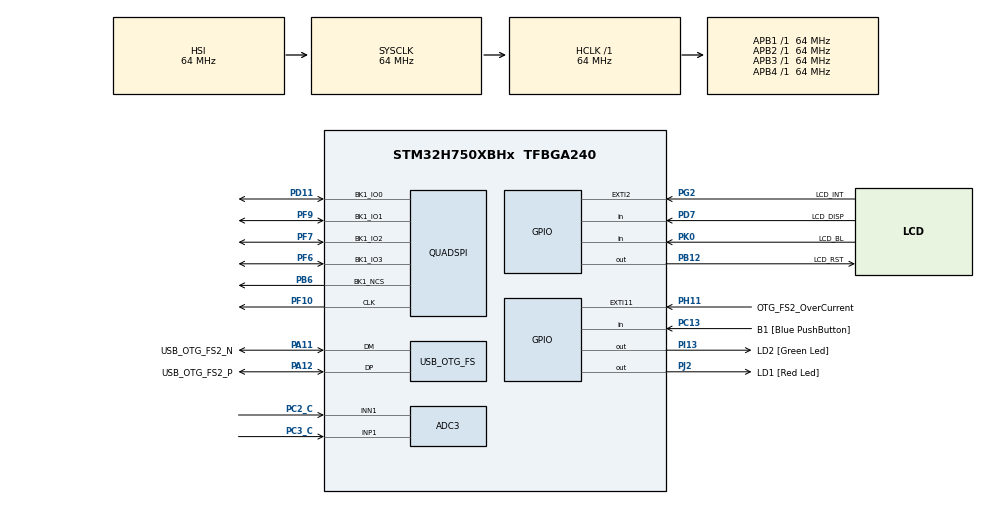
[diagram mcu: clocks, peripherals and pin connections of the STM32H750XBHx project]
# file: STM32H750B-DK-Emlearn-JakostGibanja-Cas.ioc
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ADC3.Channel-0\#ChannelRegularConversion=ADC_CHANNEL_1
ADC3.NbrOfConversionFlag=1
ADC3.OffsetNumber-0\#ChannelRegularConversion=ADC_OFFSET_NONE
ADC3.Rank-0\#ChannelRegularConversion=1
ADC3.SamplingTime-0\#ChannelRegularConversion=ADC_SAMPLETIME_1CYCLE_5
ADC3.SingleDiff-0\#ChannelRegularConversion=ADC_DIFFERENTIAL_ENDED
Mcu.Family=STM32H7
Mcu.Name=STM32H750XBHx
Mcu.Package=TFBGA240
NVIC.OTG_FS_IRQn=true\:0\:0\:false\:false\:true\:false\:true\:true
NVIC.PriorityGroup=NVIC_PRIORITYGROUP_4
PA0_C.Signal=ADCx_INP0
PA1.GPIO_Label=MII_RX_CLK
PA1.Signal=ETH_RX_CLK
PA10.Signal=USB_OTG_FS_ID
PA11.GPIO_Label=USB_OTG_FS2_N
PA11.Mode=Device_Only
PA11.Signal=USB_OTG_FS_DM
PA12.GPIO_Label=USB_OTG_FS2_P
PA12.Mode=Device_Only
PA12.Signal=USB_OTG_FS_DP
PA1_C.Signal=ADCx_INP1
PA2.GPIO_Label=MII_MDIO
PA2.Signal=ETH_MDIO
PA6.Signal=S_TIM13_CH1
PA7.GPIO_Label=MII_RX_DV
PA7.Signal=ETH_RX_DV
PA8.Signal=USB_OTG_FS_SOF
PA9.GPIO_Label=VBUS_FS2
PA9.Signal=USB_OTG_FS_VBUS
PB0.GPIO_Label=MII_RX_D2
PB0.Signal=ETH_RXD2
PB1.GPIO_Label=MII_RX_D3
PB1.Signal=ETH_RXD3
PB10.GPIO_Label=VCP_TX
PB10.Signal=USART3_TX
PB11.GPIO_Label=VCP_RX
PB11.Signal=USART3_RX
PB12.GPIO_Label=LCD_RST
PB12.Signal=GPIO_Output
PB13.GPIO_Label=FDCAN2_TX
PB13.Signal=FDCAN2_TX
PB15.Signal=SPI2_MOSI
PB4\ (NJTRST).Signal=SPI2_NSS
PB5.GPIO_Label=FDCAN2_RX
PB5.Signal=FDCAN2_RX
PB6.Mode=Single Bank 1
PB6.Signal=QUADSPI_BK1_NCS
PB8.Signal=S_TIM16_CH1
PB9.GPIO_Label=SDIO1_D5
PB9.Signal=SDMMC1_D5
PC0.Signal=ADCx_INP10
PC1.GPIO_Label=MII_MDC
PC1.Signal=ETH_MDC
PC10.GPIO_Label=SDIO1_D2
PC10.Signal=SDMMC1_D2
PC11.GPIO_Label=SDIO1_D3
PC11.Signal=SDMMC1_D3
PC12.GPIO_Label=SDIO1_CK
PC12.Signal=SDMMC1_CK
PC13.GPIO_Label=B1 [Blue PushButton]
PC13.Signal=GPIO_Input
PC14-OSC32_IN\ (OSC32_IN).GPIO_Label=OSC32_IN
PC14-OSC32_IN\ (OSC32_IN).Mode=LSE-External-Clock-Source
PC14-OSC32_IN\ (OSC32_IN).Signal=RCC_OSC32_IN
PC15-OSC32_OUT\ (OSC32_OUT).GPIO_Label=OSC32_OUT
PC15-OSC32_OUT\ (OSC32_OUT).Signal=RCC_OSC32_OUT
PC2.GPIO_Label=MII_TXD2
PC2.Signal=ETH_TXD2
PC2_C.Signal=SharedAnalog_PC2
PC3.GPIO_Label=MII_TX_CLK
PC3.Signal=ETH_TX_CLK
PC3_C.Mode=IN1-Differential
PC3_C.Signal=ADC3_INP1
PC4.GPIO_Label=MII_RXD0
PC4.Signal=ETH_RXD0
PC5.GPIO_Label=MII_RXD1
PC5.Signal=ETH_RXD1
PC6.GPIO_Label=SDIO1_D6
PC6.Signal=SDMMC1_D6
PC7.GPIO_Label=SDIO1_D7
PC7.Signal=SDMMC1_D7
PC8.GPIO_Label=SDIO1_D0
PC8.Signal=SDMMC1_D0
PC9.GPIO_Label=SDIO1_D1
PC9.Signal=SDMMC1_D1
PD0.Signal=FMC_D2_DA2
PD1.Signal=FMC_D3_DA3
PD10.Signal=FMC_D15_DA15
PD11.Mode=Single Bank 1
PD11.Signal=QUADSPI_BK1_IO0
PD14.Signal=FMC_D0_DA0
PD15.Signal=FMC_D1_DA1
PD2.GPIO_Label=SDIO1_CMD
PD2.Signal=SDMMC1_CMD
PD3.Signal=SPI2_SCK
PD7.GPIO_Label=LCD_DISP
PD7.Signal=GPIO_Input
PD8.Signal=FMC_D13_DA13
PD9.Signal=FMC_D14_DA14
PE0.Signal=FMC_NBL0
PE1.Signal=FMC_NBL1
PE10.Signal=FMC_D7_DA7
PE11.Signal=FMC_D8_DA8
PE12.Signal=FMC_D9_DA9
PE13.Signal=FMC_D10_DA10
PE14.Signal=FMC_D11_DA11
PE15.Signal=FMC_D12_DA12
PE2.GPIO_Label=MII_TXD3
PE2.Signal=ETH_TXD3
PE4.Signal=SAI4_D2
PE5.Signal=SAI4_CK2
PE7.Signal=FMC_D4_DA4
PE8.Signal=FMC_D5_DA5
PE9.Signal=FMC_D6_DA6
PF0.Signal=FMC_A0
PF1.Signal=FMC_A1
PF10.Mode=Single Bank 1
PF10.Signal=QUADSPI_CLK
PF11.Signal=FMC_SDNRAS
PF12.Signal=FMC_A6
PF13.Signal=FMC_A7
PF14.Signal=FMC_A8
PF15.Signal=FMC_A9
PF2.Signal=FMC_A2
PF3.Signal=FMC_A3
PF4.Signal=FMC_A4
PF5.Signal=FMC_A5
PF6.Mode=Single Bank 1
PF6.Signal=QUADSPI_BK1_IO3
PF7.Mode=Single Bank 1
PF7.Signal=QUADSPI_BK1_IO2
PF8.Signal=TIM16_CH1N
PF9.Mode=Single Bank 1
PF9.Signal=QUADSPI_BK1_IO1
PG0.Signal=FMC_A10
PG1.Signal=FMC_A11
PG10.Signal=SAI2_SD_B
PG11.GPIO_Label=MII_TX_EN
PG11.Signal=ETH_TX_EN
PG12.GPIO_Label=MII_TXD1
PG12.Signal=ETH_TXD1
PG13.GPIO_Label=MII_TXD0
PG13.Signal=ETH_TXD0
PG15.Signal=FMC_SDNCAS
PG2.GPIO_Label=LCD_INT
PG2.Signal=GPXTI2
PG4.Signal=FMC_A14_BA0
PG5.Signal=FMC_A15_BA1
PG8.Signal=FMC_SDCLK
PH0-OSC_IN\ (PH0).GPIO_Label=OSC_IN
PH0-OSC_IN\ (PH0).Mode=HSE-External-Clock-Source
PH0-OSC_IN\ (PH0).Signal=RCC_OSC_IN
PH1-OSC_OUT\ (PH1).GPIO_Label=OSC_OUT
PH1-OSC_OUT\ (PH1).Signal=RCC_OSC_OUT
PH11.GPIO_Label=OTG_FS2_OverCurrent
PH11.Signal=GPXTI11
PH13.GPIO_Label=FDCAN1_TX
PH13.Signal=FDCAN1_TX
PH14.GPIO_Label=FDCAN1_RX
PH14.Signal=FDCAN1_RX
PH15.Signal=TIM8_CH3N
PH2.GPIO_Label=MII_CRS
PH2.Signal=ETH_CRS
PH3.GPIO_Label=MII_COL
PH3.Signal=ETH_COL
PH5.Signal=FMC_SDNWE
PH6.Signal=FMC_SDNE1
PH7.Signal=FMC_SDCKE1
PH9.Signal=LTDC_R3
PI0.Signal=LTDC_G5
PI1.Signal=LTDC_G6
PI10.GPIO_Label=MII_RX_ER
PI10.Signal=ETH_RX_ER
PI12.Signal=LTDC_HSYNC
PI13.GPIO_Label=LD2 [Green Led]
PI13.Signal=GPIO_Output
PI14.Signal=LTDC_CLK
PI15.Signal=LTDC_R0
PI2.Signal=SPI2_MISO
PI4.Signal=SAI2_MCLK_A
PI5.Signal=SAI2_SCK_A
PI6.Signal=SAI2_SD_A
PI7.Signal=SAI2_FS_A
PI9.Signal=LTDC_VSYNC
PJ0.Signal=LTDC_R1
PJ1.Signal=LTDC_R2
PJ10.Signal=LTDC_G3
PJ11.Signal=LTDC_G4
PJ12.Signal=LTDC_B0
PJ13.Signal=LTDC_B1
PJ14.Signal=LTDC_B2
PJ15.GPIO_Label=LCD_DISP
PJ15.Signal=LTDC_B3
PJ2.GPIO_Label=LD1 [Red Led]
PJ2.Signal=GPIO_Output
PJ3.Signal=LTDC_R4
PJ4.Signal=LTDC_R5
PJ5.Signal=LTDC_R6
PJ6.Signal=LTDC_R7
PJ7.Signal=LTDC_G0
PJ8.Signal=LTDC_G1
PJ9.Signal=LTDC_G2
PK0.GPIO_Label=LCD_BL
PK0.Signal=GPIO_Input
PK2.Signal=LTDC_G7
PK3.Signal=LTDC_B4
PK4.Signal=LTDC_B5
PK5.Signal=LTDC_B6
PK6.Signal=LTDC_B7
PK7.Signal=LTDC_DE
ProjectManager.HeapSize=0x200
ProjectManager.StackSize=0x400
ProjectManager.TargetToolchain=STM32CubeIDE
RCC.ADCFreq_Value=37500000
RCC.APB1Freq_Value=64000000
RCC.APB2Freq_Value=64000000
RCC.APB3Freq_Value=64000000
RCC.APB4Freq_Value=64000000
RCC.CortexFreq_Value=64000000
RCC.DIVM1=22
RCC.DIVM2=2
RCC.DIVN1=169
RCC.DIVN2=12
RCC.DIVP2=4
RCC.DIVQ1=4
RCC.HCLKFreq_Value=64000000
RCC.PLL2FRACN=0
RCC.PLL3FRACN=0
RCC.PLLFRACN=0
RCC.PLLSourceVirtual=RCC_PLLSOURCE_HSE
RCC.SYSCLKFreq_VALUE=64000000
RCC.USBFreq_Value=48011363.63636364
SH.ADCx_INP0.0=ADC1_INP0
SH.ADCx_INP0.1=ADC2_INP0
SH.ADCx_INP1.0=ADC1_INP1
SH.ADCx_INP1.1=ADC2_INP1
SH.ADCx_INP10.0=ADC1_INP10
SH.ADCx_INP10.1=ADC3_INP10
SH.FMC_A0.0=FMC_A0
SH.FMC_A1.0=FMC_A1
SH.FMC_A10.0=FMC_A10
SH.FMC_A11.0=FMC_A11
SH.FMC_A14_BA0.0=FMC_BA0
SH.FMC_A15_BA1.0=FMC_BA1
SH.FMC_A2.0=FMC_A2
SH.FMC_A3.0=FMC_A3
SH.FMC_A4.0=FMC_A4
SH.FMC_A5.0=FMC_A5
SH.FMC_A6.0=FMC_A6
SH.FMC_A7.0=FMC_A7
SH.FMC_A8.0=FMC_A8
SH.FMC_A9.0=FMC_A9
SH.FMC_D0_DA0.0=FMC_D0
SH.FMC_D10_DA10.0=FMC_D10
SH.FMC_D11_DA11.0=FMC_D11
SH.FMC_D12_DA12.0=FMC_D12
SH.FMC_D13_DA13.0=FMC_D13
SH.FMC_D14_DA14.0=FMC_D14
SH.FMC_D15_DA15.0=FMC_D15
SH.FMC_D1_DA1.0=FMC_D1
SH.FMC_D2_DA2.0=FMC_D2
SH.FMC_D3_DA3.0=FMC_D3
SH.FMC_D4_DA4.0=FMC_D4
SH.FMC_D5_DA5.0=FMC_D5
SH.FMC_D6_DA6.0=FMC_D6
SH.FMC_D7_DA7.0=FMC_D7
SH.FMC_D8_DA8.0=FMC_D8
SH.FMC_D9_DA9.0=FMC_D9
SH.FMC_NBL0.0=FMC_NBL0
SH.FMC_NBL1.0=FMC_NBL1
SH.FMC_SDCLK.0=FMC_SDCLK
SH.FMC_SDNCAS.0=FMC_SDNCAS
SH.FMC_SDNRAS.0=FMC_SDNRAS
SH.FMC_SDNWE.0=FMC_SDNWE
SH.S_TIM13_CH1.0=TIM13_CH1
SH.S_TIM16_CH1.0=TIM16_CH1
SH.SharedAnalog_PC2.0=ADC3_INP0
SH.SharedAnalog_PC2.1=ADC3_INN1,IN1-Differential
TIM16.Prescaler=64 - 1
USB_DEVICE.CLASS_NAME_FS=CDC
USB_DEVICE.VirtualMode-CDC_FS=Cdc
USB_DEVICE.VirtualModeFS=Cdc_FS
USB_OTG_FS.VirtualMode=Device_Only
VP_TIM16_VS_ClockSourceINT.Mode=Enable_Timer
VP_USB_DEVICE_VS_USB_DEVICE_CDC_FS.Mode=CDC_FS
board=STM32H750B-DK

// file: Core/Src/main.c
/* USER CODE BEGIN Header */
/**
  ******************************************************************************
  * @file           : main.c
  * @brief          : Main program body
  ******************************************************************************
  * @attention
  *
  * Copyright (c) 2023 STMicroelectronics.
  * All rights reserved.
  *
  * This software is licensed under terms that can be found in the LICENSE file
  * in the root directory of this software component.
  * If no LICENSE file comes with this software, it is provided AS-IS.
  *
  ******************************************************************************
  */
/* USER CODE END Header */
#include "main.h"
#include "usb_device.h"

/* USER CODE BEGIN Includes */
#include "nevronskaMreza_jakostGibanja.h"

#define BUFSIZE 256
char	SendBuffer[BUFSIZE];

int counterOfTestData = 0;

int numberOfDurations = 100;
uint32_t averageDurationValue = 0;
int countDurations = 0;

uint32_t timestamp;

const float inputList[] = {2.466293163028155e-07, 2.453839476057596e-07, 1.787794572383206e-07, 4.025996696022105e-07, 1.0707693554046216e-06,
		2.729905010934175e-07, 1.3036247592523864e-07, 2.2338122973586397e-07, 1.3165442847018485e-07, 2.3984931973863866e-07, 2.1334496858038682e-07,
		2.0199179706636985e-07, 1.7792400686111878e-07, 1.9232686399028864e-07, 2.239820435789852e-07, 2.470156319489547e-07, 2.1608693634433962e-07,
		1.7976643729156194e-07, 2.502192206765841e-07, 2.4656127273203765e-07, 2.252821247328285e-07, 1.785019880795602e-07, 2.3686227113017821e-07,
		2.3654482861346082e-07, 2.4569974921284654e-07, 2.477296949798813e-07, 2.4756893313160333e-07, 2.448707572266784e-07, 2.4626766670365896e-07,
		2.530734666272849e-07, 2.416840203522952e-07, 2.2586991166306802e-07, 2.4109893281831773e-07, 2.4725173841666503e-07, 2.349033894066821e-07,
		2.45674404153462e-07, 2.4842346468823e-07, 2.2700569490829994e-07, 2.449630338574593e-07, 2.2648041730910506e-07, 2.4978005619402666e-07,
		2.2830073342916535e-07, 2.484234651323192e-07, 2.4574360790730054e-07, 2.5076875354024253e-07, 2.1554745943674905e-07, 2.3641005797436779e-07,
		2.3391676284845173e-07, 2.375023833156576e-07, 1.5416373022603125e-07, 2.495342270592005e-07, 2.362046149784192e-07, 2.499518234611031e-07,
		2.505450524825648e-07, 2.509931722460834e-07, 2.491407766758158e-07, 1.9851194132947117e-07, 2.491465669329785e-07, 2.5081921317671174e-07,
		2.230854252438519e-07, 0.256451198750973, 1.1918942990122336, 1.0293003995621546, 0.5689617519490024, 0.4849488920212286, 0.8396363990899536,
		0.6201024630104675, 0.2451725748990894, 0.1538014389798288, 0.3742534809190609, 0.5182572232891705, 0.3480426817181965, 0.8115067232967563,
		0.6440393256179897, 0.1044263809635388, 0.1330492127410241, 0.781979073977197, 0.7378801145093243, 0.4570705142392151, 0.3131418982694898,
		0.1969119773092773, 0.826044266643114, 0.7284551128741812, 0.2382233256152621, 0.1390090133653458, 0.0967863205089494, 0.0532680353946934,
		0.0615622048812092, 0.0655417319083651, 0.5180131893866129, 0.6762755065587278, 0.5565364882091748, 0.909664035907487, 0.226389319235484,
		0.1699153034065674, 0.0739804613826047, 0.1295739706696399, 0.1594842793529687, 0.112173366179002, 0.1551887258876765, 0.1649648111876471,
		0.1662311079016247, 0.1639636668152082, 0.1285992730326559, 0.3524494340078083, 0.2946016053366929, 0.4758711215421314, 0.697207179349093,
		0.2949559494226179, 0.059913021111474, 0.0664212463374218, 0.6256707359550862, 0.4341567752196935, 0.1017664851436492, 0.2240307047976015,
		0.2810140341420828, 0.05051557143033, 0.1204609548782085, 0.2399269996401658, 0.1730092414374542, 0.09235465924514, 0.076406017545473,
		0.070062006369594, 0.1403729124741943, 0.1165051791192288, 0.0214672249327163, 0.0104785010609842, 0.0512318323245908, 0.1345758672777912,
		0.0932879022140888, 0.012836055578719, 0.0018102213035029, 0.0026657752970722, 0.0044054513831612, 0.1395531316215335, 0.1767293099454576,
		0.0285507970958898, 0.0091906895773383, 0.0031080255712305, 0.0042489372701792, 0.001605549966819, 0.0023704671795079, 0.0090257444695729,
		0.0043746818613776, 0.0056423240470078, 0.0327811373680542, 0.0713568244450605, 0.0155183904590678, 0.0142869387992841, 0.0171313901070397,
		0.0016316366637376, 0.0021597943589866, 0.0039313461873593, 0.0145222488013982, 0.0148580110788096, 0.0113824855963475, 0.0070561603245047,
		0.0030164582616158, 0.1358820693679601, 0.0815997292981953, 0.1529422670098137, 0.1630049114280112, 0.0065703476146865, 0.0078270896795291,
		0.0069769410286295, 0.0029278877516287, 0.0015234274508855, 0.0012565872701151, 0.0035783151031552, 0.010224420781147, 0.0623567194972176,
		0.1401663850253749, 0.1055609897804381, 0.0910324363731371, 0.0280231276892524, 0.0192889164056884, 0.0211591592717421, 0.0201516400389976,
		0.0203900934865008, 0.0205685504661767, 0.0245678338462753, 0.0224581217865558, 0.015439502276715, 0.0068437521567108};
		/* {-0.5740904574483623, -0.5740904606501107, -0.5740906318852026, -0.5740900564604163, -0.5740883386468434,
    -0.574090389675756, -0.5740907563615886, -0.5740905172174292, -0.5740907530400766, -0.574090474879219, -0.5740905430198953, -0.5740905722080379,
    -0.5740906340845007, -0.5740905970558476, -0.5740905156727824, -0.5740904564551741, -0.5740905359705041, -0.5740906293477518, -0.5740904482189905,
    -0.5740904576232971, -0.5740905123303723, -0.5740906325985548, -0.5740904825586944, -0.574090483374815, -0.5740904598382087, -0.5740904546193721,
    -0.5740904550326787, -0.5740904619694842, -0.574090458378136, -0.5740904408809406, -0.574090470162343, -0.5740905108192167, -0.5740904716665587,
    -0.5740904558481622, -0.5740904875948307, -0.5740904599033689, -0.5740904528357429, -0.5740905078992041, -0.574090461732248, -0.574090509249653,
    -0.5740904493480491, -0.5740905045697584, -0.5740904528357418, -0.5740904597254514, -0.5740904468061832, -0.5740905373574583, -0.5740904837213002,
    -0.5740904901313728, -0.5740904809130146, -0.5740906951703694, -0.5740904499800571, -0.5740904842494785, -0.5740904489064484, -0.5740904473813017,
    -0.5740904462292197, -0.5740904509915882, -0.574090581154483, -0.5740904509767019, -0.5740904466764553, -0.5740905179779201, 0.08522548533791707,
    2.490178730662951, 2.07216215002506, 0.8886664096464241, 0.6726757202331317, 1.584550393276248, 1.0201452981016919, 0.056228999044082455,
    -0.1786792597230069, 0.38808621596676324, 0.7583089130556834, 0.3207002396491483, 1.5122311308113299, 1.0816851559452978, -0.3056187881467284,
    -0.23203165905845957, 1.436317784464491, 1.3229427051484994, 0.6010025258907656, 0.23097297307792522, -0.06784533616938844, 1.549606051894303,
    1.2987117409527074, 0.03836300632571678, -0.21670946378121658, -0.3252608039781697, -0.43714301358266583, -0.41581933305276403, -0.40558827096449346,
    0.7576815204053328, 1.1645619316130649, 0.8567219991881373, 1.7645861350329979, 0.007938673685606622, -0.13725173672669716, -0.3838929376728968,
    -0.24096624278197118, -0.16406910824053847, -0.2857018768667053, -0.17511265032656853, -0.1499790766627377, -0.14672352387606974, -0.15255294289454102,
    -0.24347211646324657, 0.3320296654766363, 0.18330728646849537, 0.6493374609975638, 1.21837567441924, 0.1842182782318309, -0.42005925941285405,
    -0.40332710608992295, 1.034460905416852, 0.5420930411747646, -0.31245717851219623, 0.0018748548971931572, 0.1483746717200025, -0.44421938962508595,
    -0.2643951150417379, 0.042743022998055054, -0.12929745676446583, -0.33665426888865224, -0.3776570167879396, -0.3939669882459015, -0.21320298264173834,
    -0.2745651144213681, -0.518900484778015, -0.5471516602155396, -0.4423779372035856, -0.22810674606090495, -0.3342549720140231, -0.5410905664014172,
    -0.5694371498709956, -0.5672375854583545, -0.5627650102179304, -0.2153105770229587, -0.11973344284565499, -0.5006891581269763, -0.5504625258428515,
    -0.5661005935538914, -0.5631673961287892, -0.5699633443506442, -0.5679968002256757, -0.5508865872016985, -0.5628441163241702, -0.5595851044319549,
    -0.48981327421321447, -0.39063810920255937, -0.5341944869138014, -0.5373604557095845, -0.5300475871857316, -0.5698962774318795, -0.5685384240649802,
    -0.5639838987093317, -0.5367554915454533, -0.5358922722021361, -0.5448275845540286, -0.555950238620261, -0.5663360061603471, -0.2247485995793876,
    -0.36430437788183867, -0.18088812567861984, -0.15501783026103957, -0.5571992262420321, -0.5539682377334466, -0.556153905420149, -0.5665637142223063,
    -0.5701744751090553, -0.5708605009705402, -0.5648915148448509, -0.5478048813397287, -0.41377669624920654, -0.21373394904487739, -0.30270179495322014,
    -0.34005360358488146, -0.5020457561408982, -0.5245007507481545, -0.5196924982216186, -0.5222827537356519, -0.5216697080118965, -0.5212109086554176,
    -0.510929054482506, -0.5163529641391241, -0.5343973024459424, -0.556496323905755};
    */

int length = sizeof(inputList) / sizeof(inputList[0]);

/* USER CODE END Includes */

ADC_HandleTypeDef hadc3;

QSPI_HandleTypeDef hqspi;

TIM_HandleTypeDef htim16;

void SystemClock_Config(void);
static void MX_GPIO_Init(void);
static void MX_ADC3_Init(void);
static void MX_TIM16_Init(void);
static void MX_QUADSPI_Init(void);

int main(void)
{

  /* MCU Configuration--------------------------------------------------------*/

  /* Reset of all peripherals, Initializes the Flash interface and the Systick. */
  HAL_Init();

  /* Configure the system clock */
  SystemClock_Config();

  /* Initialize all configured peripherals */
  MX_GPIO_Init();
  MX_ADC3_Init();
  MX_TIM16_Init();
  MX_USB_DEVICE_Init();
  MX_QUADSPI_Init();

  /* Infinite loop */
  /* USER CODE BEGIN WHILE */
  HAL_TIM_Base_Start(&htim16);

  while (1)
  {
	  if(counterOfTestData == 0) {
		  timestamp = htim16.Instance->CNT;
	  }

	  float input = (inputList[counterOfTestData] - 0.22330145150297734) * 2.5709241370783027;

	  const float features[] = { input };
	  int out = nevronskaMreza_jakostGibanja_predict(features, 1); // Alternative A: "inline"
	  if (out < 0) {
	      return out; // error
	  } else {
		  counterOfTestData++;
	  }

	  if(counterOfTestData == length) {
		  counterOfTestData=0;

		  countDurations++;

		  		uint32_t duration = htim16.Instance->CNT;

		  		if(duration >= timestamp)
		  			duration -= timestamp;
		  		else
		  			duration += (65535 - timestamp) + 1; //+1 because of counting from 0 onwards

		  		//snprintf(SendBuffer,BUFSIZE,"1 Trajanje izvajanja: %lu mikrosekund. \r\n", duration);
		  		//CDC_Transmit_FS(SendBuffer,strlen(SendBuffer));
		  		averageDurationValue += duration;

		  		if(countDurations == numberOfDurations) {
		  			snprintf(SendBuffer,BUFSIZE,"Trajanje izvajanja: [%lu] %lu mikrosekund. \r\n", averageDurationValue, averageDurationValue / 100);
		  			CDC_Transmit_FS(SendBuffer,strlen(SendBuffer));

		  			countDurations = 0;
		  			averageDurationValue = 0;
		  		}
	  }

    /* USER CODE END WHILE */

  }
}

void SystemClock_Config(void)
{
  RCC_OscInitTypeDef RCC_OscInitStruct = {0};
  RCC_ClkInitTypeDef RCC_ClkInitStruct = {0};

  /** Supply configuration update enable
  */
  HAL_PWREx_ConfigSupply(PWR_LDO_SUPPLY);

  /** Configure the main internal regulator output voltage
  */
  __HAL_PWR_VOLTAGESCALING_CONFIG(PWR_REGULATOR_VOLTAGE_SCALE3);

  while(!__HAL_PWR_GET_FLAG(PWR_FLAG_VOSRDY)) {}

  /** Initializes the RCC Oscillators according to the specified parameters
  * in the RCC_OscInitTypeDef structure.
  */
  RCC_OscInitStruct.OscillatorType = RCC_OSCILLATORTYPE_HSI|RCC_OSCILLATORTYPE_HSE;
  RCC_OscInitStruct.HSEState = RCC_HSE_BYPASS;
  RCC_OscInitStruct.HSIState = RCC_HSI_DIV1;
  RCC_OscInitStruct.HSICalibrationValue = RCC_HSICALIBRATION_DEFAULT;
  RCC_OscInitStruct.PLL.PLLState = RCC_PLL_ON;
  RCC_OscInitStruct.PLL.PLLSource = RCC_PLLSOURCE_HSE;
  RCC_OscInitStruct.PLL.PLLM = 22;
  RCC_OscInitStruct.PLL.PLLN = 169;
  RCC_OscInitStruct.PLL.PLLP = 2;
  RCC_OscInitStruct.PLL.PLLQ = 4;
  RCC_OscInitStruct.PLL.PLLR = 2;
  RCC_OscInitStruct.PLL.PLLRGE = RCC_PLL1VCIRANGE_0;
  RCC_OscInitStruct.PLL.PLLVCOSEL = RCC_PLL1VCOWIDE;
  RCC_OscInitStruct.PLL.PLLFRACN = 0;
  if (HAL_RCC_OscConfig(&RCC_OscInitStruct) != HAL_OK)
  {
    Error_Handler();
  }

  /** Initializes the CPU, AHB and APB buses clocks
  */
  RCC_ClkInitStruct.ClockType = RCC_CLOCKTYPE_HCLK|RCC_CLOCKTYPE_SYSCLK
                              |RCC_CLOCKTYPE_PCLK1|RCC_CLOCKTYPE_PCLK2
                              |RCC_CLOCKTYPE_D3PCLK1|RCC_CLOCKTYPE_D1PCLK1;
  RCC_ClkInitStruct.SYSCLKSource = RCC_SYSCLKSOURCE_HSI;
  RCC_ClkInitStruct.SYSCLKDivider = RCC_SYSCLK_DIV1;
  RCC_ClkInitStruct.AHBCLKDivider = RCC_HCLK_DIV1;
  RCC_ClkInitStruct.APB3CLKDivider = RCC_APB3_DIV1;
  RCC_ClkInitStruct.APB1CLKDivider = RCC_APB1_DIV1;
  RCC_ClkInitStruct.APB2CLKDivider = RCC_APB2_DIV1;
  RCC_ClkInitStruct.APB4CLKDivider = RCC_APB4_DIV1;

  if (HAL_RCC_ClockConfig(&RCC_ClkInitStruct, FLASH_LATENCY_1) != HAL_OK)
  {
    Error_Handler();
  }
}

static void MX_ADC3_Init(void)
{

  ADC_ChannelConfTypeDef sConfig = {0};

  /** Common config
  */
  hadc3.Instance = ADC3;
  hadc3.Init.Resolution = ADC_RESOLUTION_16B;
  hadc3.Init.ScanConvMode = ADC_SCAN_DISABLE;
  hadc3.Init.EOCSelection = ADC_EOC_SINGLE_CONV;
  hadc3.Init.LowPowerAutoWait = DISABLE;
  hadc3.Init.ContinuousConvMode = DISABLE;
  hadc3.Init.NbrOfConversion = 1;
  hadc3.Init.DiscontinuousConvMode = DISABLE;
  hadc3.Init.ExternalTrigConv = ADC_SOFTWARE_START;
  hadc3.Init.ExternalTrigConvEdge = ADC_EXTERNALTRIGCONVEDGE_NONE;
  hadc3.Init.ConversionDataManagement = ADC_CONVERSIONDATA_DR;
  hadc3.Init.Overrun = ADC_OVR_DATA_PRESERVED;
  hadc3.Init.LeftBitShift = ADC_LEFTBITSHIFT_NONE;
  hadc3.Init.OversamplingMode = DISABLE;
  if (HAL_ADC_Init(&hadc3) != HAL_OK)
  {
    Error_Handler();
  }

  /** Configure Regular Channel
  */
  sConfig.Channel = ADC_CHANNEL_1;
  sConfig.Rank = ADC_REGULAR_RANK_1;
  sConfig.SamplingTime = ADC_SAMPLETIME_1CYCLE_5;
  sConfig.SingleDiff = ADC_DIFFERENTIAL_ENDED;
  sConfig.OffsetNumber = ADC_OFFSET_NONE;
  sConfig.Offset = 0;
  sConfig.OffsetSignedSaturation = DISABLE;
  if (HAL_ADC_ConfigChannel(&hadc3, &sConfig) != HAL_OK)
  {
    Error_Handler();
  }

}

static void MX_QUADSPI_Init(void)
{

  /* QUADSPI parameter configuration*/
  hqspi.Instance = QUADSPI;
  hqspi.Init.ClockPrescaler = 255;
  hqspi.Init.FifoThreshold = 1;
  hqspi.Init.SampleShifting = QSPI_SAMPLE_SHIFTING_NONE;
  hqspi.Init.FlashSize = 1;
  hqspi.Init.ChipSelectHighTime = QSPI_CS_HIGH_TIME_1_CYCLE;
  hqspi.Init.ClockMode = QSPI_CLOCK_MODE_0;
  hqspi.Init.FlashID = QSPI_FLASH_ID_1;
  hqspi.Init.DualFlash = QSPI_DUALFLASH_DISABLE;
  if (HAL_QSPI_Init(&hqspi) != HAL_OK)
  {
    Error_Handler();
  }

}

static void MX_TIM16_Init(void)
{

  htim16.Instance = TIM16;
  htim16.Init.Prescaler = 64 - 1;
  htim16.Init.CounterMode = TIM_COUNTERMODE_UP;
  htim16.Init.Period = 65535;
  htim16.Init.ClockDivision = TIM_CLOCKDIVISION_DIV1;
  htim16.Init.RepetitionCounter = 0;
  htim16.Init.AutoReloadPreload = TIM_AUTORELOAD_PRELOAD_DISABLE;
  if (HAL_TIM_Base_Init(&htim16) != HAL_OK)
  {
    Error_Handler();
  }

}

static void MX_GPIO_Init(void)
{
  GPIO_InitTypeDef GPIO_InitStruct = {0};

  /* GPIO Ports Clock Enable */
  __HAL_RCC_GPIOI_CLK_ENABLE();
  __HAL_RCC_GPIOB_CLK_ENABLE();
  __HAL_RCC_GPIOK_CLK_ENABLE();
  __HAL_RCC_GPIOG_CLK_ENABLE();
  __HAL_RCC_GPIOC_CLK_ENABLE();
  __HAL_RCC_GPIOE_CLK_ENABLE();
  __HAL_RCC_GPIOJ_CLK_ENABLE();
  __HAL_RCC_GPIOD_CLK_ENABLE();
  __HAL_RCC_GPIOH_CLK_ENABLE();
  __HAL_RCC_GPIOA_CLK_ENABLE();
  __HAL_RCC_GPIOF_CLK_ENABLE();

  /*Configure GPIO pin Output Level */
  HAL_GPIO_WritePin(LD2_GPIO_Port, LD2_Pin, GPIO_PIN_RESET);

  /*Configure GPIO pin Output Level */
  HAL_GPIO_WritePin(LD1_GPIO_Port, LD1_Pin, GPIO_PIN_RESET);

  /*Configure GPIO pin Output Level */
  HAL_GPIO_WritePin(LCD_RST_GPIO_Port, LCD_RST_Pin, GPIO_PIN_RESET);

  /*Configure GPIO pins : PI6 PI5 PI4 PI7 */
  GPIO_InitStruct.Pin = GPIO_PIN_6|GPIO_PIN_5|GPIO_PIN_4|GPIO_PIN_7;
  GPIO_InitStruct.Mode = GPIO_MODE_AF_PP;
  GPIO_InitStruct.Pull = GPIO_NOPULL;
  GPIO_InitStruct.Speed = GPIO_SPEED_FREQ_LOW;
  GPIO_InitStruct.Alternate = GPIO_AF10_SAI2;
  HAL_GPIO_Init(GPIOI, &GPIO_InitStruct);

  /*Configure GPIO pins : FDCAN2_RX_Pin FDCAN2_TX_Pin */
  GPIO_InitStruct.Pin = FDCAN2_RX_Pin|FDCAN2_TX_Pin;
  GPIO_InitStruct.Mode = GPIO_MODE_AF_PP;
  GPIO_InitStruct.Pull = GPIO_NOPULL;
  GPIO_InitStruct.Speed = GPIO_SPEED_FREQ_LOW;
  GPIO_InitStruct.Alternate = GPIO_AF9_FDCAN2;
  HAL_GPIO_Init(GPIOB, &GPIO_InitStruct);

  /*Configure GPIO pins : PK5 PK4 PK6 PK3
                           PK7 PK2 */
  GPIO_InitStruct.Pin = GPIO_PIN_5|GPIO_PIN_4|GPIO_PIN_6|GPIO_PIN_3
                          |GPIO_PIN_7|GPIO_PIN_2;
  GPIO_InitStruct.Mode = GPIO_MODE_AF_PP;
  GPIO_InitStruct.Pull = GPIO_NOPULL;
  GPIO_InitStruct.Speed = GPIO_SPEED_FREQ_LOW;
  GPIO_InitStruct.Alternate = GPIO_AF14_LTDC;
  HAL_GPIO_Init(GPIOK, &GPIO_InitStruct);

  /*Configure GPIO pin : PG10 */
  GPIO_InitStruct.Pin = GPIO_PIN_10;
  GPIO_InitStruct.Mode = GPIO_MODE_AF_PP;
  GPIO_InitStruct.Pull = GPIO_NOPULL;
  GPIO_InitStruct.Speed = GPIO_SPEED_FREQ_LOW;
  GPIO_InitStruct.Alternate = GPIO_AF10_SAI2;
  HAL_GPIO_Init(GPIOG, &GPIO_InitStruct);

  /*Configure GPIO pins : SDIO1_D2_Pin SDIO1_D3_Pin SDIO1_CK_Pin SDIO1_D0_Pin
                           SDIO1_D1_Pin SDIO1_D7_Pin SDIO1_D6_Pin */
  GPIO_InitStruct.Pin = SDIO1_D2_Pin|SDIO1_D3_Pin|SDIO1_CK_Pin|SDIO1_D0_Pin
                          |SDIO1_D1_Pin|SDIO1_D7_Pin|SDIO1_D6_Pin;
  GPIO_InitStruct.Mode = GPIO_MODE_AF_PP;
  GPIO_InitStruct.Pull = GPIO_NOPULL;
  GPIO_InitStruct.Speed = GPIO_SPEED_FREQ_VERY_HIGH;
  GPIO_InitStruct.Alternate = GPIO_AF12_SDIO1;
  HAL_GPIO_Init(GPIOC, &GPIO_InitStruct);

  /*Configure GPIO pins : PI1 PI0 PI9 PI12
                           PI14 PI15 */
  GPIO_InitStruct.Pin = GPIO_PIN_1|GPIO_PIN_0|GPIO_PIN_9|GPIO_PIN_12
                          |GPIO_PIN_14|GPIO_PIN_15;
  GPIO_InitStruct.Mode = GPIO_MODE_AF_PP;
  GPIO_InitStruct.Pull = GPIO_NOPULL;
  GPIO_InitStruct.Speed = GPIO_SPEED_FREQ_LOW;
  GPIO_InitStruct.Alternate = GPIO_AF14_LTDC;
  HAL_GPIO_Init(GPIOI, &GPIO_InitStruct);

  /*Configure GPIO pins : PE1 PE0 PE10 PE9
                           PE11 PE12 PE15 PE8
                           PE13 PE7 PE14 */
  GPIO_InitStruct.Pin = GPIO_PIN_1|GPIO_PIN_0|GPIO_PIN_10|GPIO_PIN_9
                          |GPIO_PIN_11|GPIO_PIN_12|GPIO_PIN_15|GPIO_PIN_8
                          |GPIO_PIN_13|GPIO_PIN_7|GPIO_PIN_14;
  GPIO_InitStruct.Mode = GPIO_MODE_AF_PP;
  GPIO_InitStruct.Pull = GPIO_NOPULL;
  GPIO_InitStruct.Speed = GPIO_SPEED_FREQ_VERY_HIGH;
  GPIO_InitStruct.Alternate = GPIO_AF12_FMC;
  HAL_GPIO_Init(GPIOE, &GPIO_InitStruct);

  /*Configure GPIO pin : PB4 */
  GPIO_InitStruct.Pin = GPIO_PIN_4;
  GPIO_InitStruct.Mode = GPIO_MODE_AF_PP;
  GPIO_InitStruct.Pull = GPIO_NOPULL;
  GPIO_InitStruct.Speed = GPIO_SPEED_FREQ_LOW;
  GPIO_InitStruct.Alternate = GPIO_AF7_SPI2;
  HAL_GPIO_Init(GPIOB, &GPIO_InitStruct);

  /*Configure GPIO pins : MII_TX_EN_Pin MII_TXD1_Pin MII_TXD0_Pin */
  GPIO_InitStruct.Pin = MII_TX_EN_Pin|MII_TXD1_Pin|MII_TXD0_Pin;
  GPIO_InitStruct.Mode = GPIO_MODE_AF_PP;
  GPIO_InitStruct.Pull = GPIO_NOPULL;
  GPIO_InitStruct.Speed = GPIO_SPEED_FREQ_LOW;
  GPIO_InitStruct.Alternate = GPIO_AF11_ETH;
  HAL_GPIO_Init(GPIOG, &GPIO_InitStruct);

  /*Configure GPIO pins : LCD_DISP_Pin PJ14 PJ12 PJ13
                           PJ11 PJ10 PJ9 PJ0
                           PJ8 PJ7 PJ6 PJ1
                           PJ5 PJ3 PJ4 */
  GPIO_InitStruct.Pin = LCD_DISP_Pin|GPIO_PIN_14|GPIO_PIN_12|GPIO_PIN_13
                          |GPIO_PIN_11|GPIO_PIN_10|GPIO_PIN_9|GPIO_PIN_0
                          |GPIO_PIN_8|GPIO_PIN_7|GPIO_PIN_6|GPIO_PIN_1
                          |GPIO_PIN_5|GPIO_PIN_3|GPIO_PIN_4;
  GPIO_InitStruct.Mode = GPIO_MODE_AF_PP;
  GPIO_InitStruct.Pull = GPIO_NOPULL;
  GPIO_InitStruct.Speed = GPIO_SPEED_FREQ_LOW;
  GPIO_InitStruct.Alternate = GPIO_AF14_LTDC;
  HAL_GPIO_Init(GPIOJ, &GPIO_InitStruct);

  /*Configure GPIO pin : PD3 */
  GPIO_InitStruct.Pin = GPIO_PIN_3;
  GPIO_InitStruct.Mode = GPIO_MODE_AF_PP;
  GPIO_InitStruct.Pull = GPIO_NOPULL;
  GPIO_InitStruct.Speed = GPIO_SPEED_FREQ_LOW;
  GPIO_InitStruct.Alternate = GPIO_AF5_SPI2;
  HAL_GPIO_Init(GPIOD, &GPIO_InitStruct);

  /*Configure GPIO pin : PI2 */
  GPIO_InitStruct.Pin = GPIO_PIN_2;
  GPIO_InitStruct.Mode = GPIO_MODE_AF_PP;
  GPIO_InitStruct.Pull = GPIO_NOPULL;
  GPIO_InitStruct.Speed = GPIO_SPEED_FREQ_LOW;
  GPIO_InitStruct.Alternate = GPIO_AF5_SPI2;
  HAL_GPIO_Init(GPIOI, &GPIO_InitStruct);

  /*Configure GPIO pin : PH15 */
  GPIO_InitStruct.Pin = GPIO_PIN_15;
  GPIO_InitStruct.Mode = GPIO_MODE_AF_PP;
  GPIO_InitStruct.Pull = GPIO_NOPULL;
  GPIO_InitStruct.Speed = GPIO_SPEED_FREQ_LOW;
  GPIO_InitStruct.Alternate = GPIO_AF3_TIM8;
  HAL_GPIO_Init(GPIOH, &GPIO_InitStruct);

  /*Configure GPIO pins : FDCAN1_RX_Pin FDCAN1_TX_Pin */
  GPIO_InitStruct.Pin = FDCAN1_RX_Pin|FDCAN1_TX_Pin;
  GPIO_InitStruct.Mode = GPIO_MODE_AF_PP;
  GPIO_InitStruct.Pull = GPIO_NOPULL;
  GPIO_InitStruct.Speed = GPIO_SPEED_FREQ_LOW;
  GPIO_InitStruct.Alternate = GPIO_AF9_FDCAN1;
  HAL_GPIO_Init(GPIOH, &GPIO_InitStruct);

  /*Configure GPIO pin : MII_TXD3_Pin */
  GPIO_InitStruct.Pin = MII_TXD3_Pin;
  GPIO_InitStruct.Mode = GPIO_MODE_AF_PP;
  GPIO_InitStruct.Pull = GPIO_NOPULL;
  GPIO_InitStruct.Speed = GPIO_SPEED_FREQ_LOW;
  GPIO_InitStruct.Alternate = GPIO_AF11_ETH;
  HAL_GPIO_Init(MII_TXD3_GPIO_Port, &GPIO_InitStruct);

  /*Configure GPIO pin : LCD_DISPD7_Pin */
  GPIO_InitStruct.Pin = LCD_DISPD7_Pin;
  GPIO_InitStruct.Mode = GPIO_MODE_INPUT;
  GPIO_InitStruct.Pull = GPIO_NOPULL;
  HAL_GPIO_Init(LCD_DISPD7_GPIO_Port, &GPIO_InitStruct);

  /*Configure GPIO pins : PE5 PE4 */
  GPIO_InitStruct.Pin = GPIO_PIN_5|GPIO_PIN_4;
  GPIO_InitStruct.Mode = GPIO_MODE_AF_PP;
  GPIO_InitStruct.Pull = GPIO_NOPULL;
  GPIO_InitStruct.Speed = GPIO_SPEED_FREQ_LOW;
  GPIO_InitStruct.Alternate = GPIO_AF10_SAI4;
  HAL_GPIO_Init(GPIOE, &GPIO_InitStruct);

  /*Configure GPIO pin : SDIO1_D5_Pin */
  GPIO_InitStruct.Pin = SDIO1_D5_Pin;
  GPIO_InitStruct.Mode = GPIO_MODE_AF_PP;
  GPIO_InitStruct.Pull = GPIO_NOPULL;
  GPIO_InitStruct.Speed = GPIO_SPEED_FREQ_VERY_HIGH;
  GPIO_InitStruct.Alternate = GPIO_AF12_SDIO1;
  HAL_GPIO_Init(SDIO1_D5_GPIO_Port, &GPIO_InitStruct);

  /*Configure GPIO pins : PG15 PG8 PG5 PG4
                           PG0 PG1 */
  GPIO_InitStruct.Pin = GPIO_PIN_15|GPIO_PIN_8|GPIO_PIN_5|GPIO_PIN_4
                          |GPIO_PIN_0|GPIO_PIN_1;
  GPIO_InitStruct.Mode = GPIO_MODE_AF_PP;
  GPIO_InitStruct.Pull = GPIO_NOPULL;
  GPIO_InitStruct.Speed = GPIO_SPEED_FREQ_VERY_HIGH;
  GPIO_InitStruct.Alternate = GPIO_AF12_FMC;
  HAL_GPIO_Init(GPIOG, &GPIO_InitStruct);

  /*Configure GPIO pin : SDIO1_CMD_Pin */
  GPIO_InitStruct.Pin = SDIO1_CMD_Pin;
  GPIO_InitStruct.Mode = GPIO_MODE_AF_PP;
  GPIO_InitStruct.Pull = GPIO_NOPULL;
  GPIO_InitStruct.Speed = GPIO_SPEED_FREQ_VERY_HIGH;
  GPIO_InitStruct.Alternate = GPIO_AF12_SDIO1;
  HAL_GPIO_Init(SDIO1_CMD_GPIO_Port, &GPIO_InitStruct);

  /*Configure GPIO pins : PD0 PD1 PD15 PD14
                           PD10 PD9 PD8 */
  GPIO_InitStruct.Pin = GPIO_PIN_0|GPIO_PIN_1|GPIO_PIN_15|GPIO_PIN_14
                          |GPIO_PIN_10|GPIO_PIN_9|GPIO_PIN_8;
  GPIO_InitStruct.Mode = GPIO_MODE_AF_PP;
  GPIO_InitStruct.Pull = GPIO_NOPULL;
  GPIO_InitStruct.Speed = GPIO_SPEED_FREQ_VERY_HIGH;
  GPIO_InitStruct.Alternate = GPIO_AF12_FMC;
  HAL_GPIO_Init(GPIOD, &GPIO_InitStruct);

  /*Configure GPIO pin : B1_Pin */
  GPIO_InitStruct.Pin = B1_Pin;
  GPIO_InitStruct.Mode = GPIO_MODE_INPUT;
  GPIO_InitStruct.Pull = GPIO_NOPULL;
  HAL_GPIO_Init(B1_GPIO_Port, &GPIO_InitStruct);

  /*Configure GPIO pin : MII_RX_ER_Pin */
  GPIO_InitStruct.Pin = MII_RX_ER_Pin;
  GPIO_InitStruct.Mode = GPIO_MODE_AF_PP;
  GPIO_InitStruct.Pull = GPIO_NOPULL;
  GPIO_InitStruct.Speed = GPIO_SPEED_FREQ_LOW;
  GPIO_InitStruct.Alternate = GPIO_AF11_ETH;
  HAL_GPIO_Init(MII_RX_ER_GPIO_Port, &GPIO_InitStruct);

  /*Configure GPIO pins : PF2 PF1 PF0 PF3
                           PF5 PF4 PF13 PF14
                           PF12 PF15 PF11 */
  GPIO_InitStruct.Pin = GPIO_PIN_2|GPIO_PIN_1|GPIO_PIN_0|GPIO_PIN_3
                          |GPIO_PIN_5|GPIO_PIN_4|GPIO_PIN_13|GPIO_PIN_14
                          |GPIO_PIN_12|GPIO_PIN_15|GPIO_PIN_11;
  GPIO_InitStruct.Mode = GPIO_MODE_AF_PP;
  GPIO_InitStruct.Pull = GPIO_NOPULL;
  GPIO_InitStruct.Speed = GPIO_SPEED_FREQ_VERY_HIGH;
  GPIO_InitStruct.Alternate = GPIO_AF12_FMC;
  HAL_GPIO_Init(GPIOF, &GPIO_InitStruct);

  /*Configure GPIO pin : LD2_Pin */
  GPIO_InitStruct.Pin = LD2_Pin;
  GPIO_InitStruct.Mode = GPIO_MODE_OUTPUT_PP;
  GPIO_InitStruct.Pull = GPIO_NOPULL;
  GPIO_InitStruct.Speed = GPIO_SPEED_FREQ_LOW;
  HAL_GPIO_Init(LD2_GPIO_Port, &GPIO_InitStruct);

  /*Configure GPIO pin : LCD_INT_Pin */
  GPIO_InitStruct.Pin = LCD_INT_Pin;
  GPIO_InitStruct.Mode = GPIO_MODE_IT_RISING;
  GPIO_InitStruct.Pull = GPIO_NOPULL;
  HAL_GPIO_Init(LCD_INT_GPIO_Port, &GPIO_InitStruct);

  /*Configure GPIO pin : LCD_BL_Pin */
  GPIO_InitStruct.Pin = LCD_BL_Pin;
  GPIO_InitStruct.Mode = GPIO_MODE_INPUT;
  GPIO_InitStruct.Pull = GPIO_NOPULL;
  HAL_GPIO_Init(LCD_BL_GPIO_Port, &GPIO_InitStruct);

  /*Configure GPIO pin : PC0 */
  GPIO_InitStruct.Pin = GPIO_PIN_0;
  GPIO_InitStruct.Mode = GPIO_MODE_ANALOG;
  GPIO_InitStruct.Pull = GPIO_NOPULL;
  HAL_GPIO_Init(GPIOC, &GPIO_InitStruct);

  /*Configure GPIO pins : MII_MDC_Pin MII_TXD2_Pin MII_TX_CLK_Pin MII_RXD0_Pin
                           MII_RXD1_Pin */
  GPIO_InitStruct.Pin = MII_MDC_Pin|MII_TXD2_Pin|MII_TX_CLK_Pin|MII_RXD0_Pin
                          |MII_RXD1_Pin;
  GPIO_InitStruct.Mode = GPIO_MODE_AF_PP;
  GPIO_InitStruct.Pull = GPIO_NOPULL;
  GPIO_InitStruct.Speed = GPIO_SPEED_FREQ_LOW;
  GPIO_InitStruct.Alternate = GPIO_AF11_ETH;
  HAL_GPIO_Init(GPIOC, &GPIO_InitStruct);

  /*Configure GPIO pins : MII_CRS_Pin MII_COL_Pin */
  GPIO_InitStruct.Pin = MII_CRS_Pin|MII_COL_Pin;
  GPIO_InitStruct.Mode = GPIO_MODE_AF_PP;
  GPIO_InitStruct.Pull = GPIO_NOPULL;
  GPIO_InitStruct.Speed = GPIO_SPEED_FREQ_LOW;
  GPIO_InitStruct.Alternate = GPIO_AF11_ETH;
  HAL_GPIO_Init(GPIOH, &GPIO_InitStruct);

  /*Configure GPIO pins : MII_MDIO_Pin MII_RX_CLK_Pin MII_RX_DV_Pin */
  GPIO_InitStruct.Pin = MII_MDIO_Pin|MII_RX_CLK_Pin|MII_RX_DV_Pin;
  GPIO_InitStruct.Mode = GPIO_MODE_AF_PP;
  GPIO_InitStruct.Pull = GPIO_NOPULL;
  GPIO_InitStruct.Speed = GPIO_SPEED_FREQ_LOW;
  GPIO_InitStruct.Alternate = GPIO_AF11_ETH;
  HAL_GPIO_Init(GPIOA, &GPIO_InitStruct);

  /*Configure GPIO pins : PH5 PH6 PH7 */
  GPIO_InitStruct.Pin = GPIO_PIN_5|GPIO_PIN_6|GPIO_PIN_7;
  GPIO_InitStruct.Mode = GPIO_MODE_AF_PP;
  GPIO_InitStruct.Pull = GPIO_NOPULL;
  GPIO_InitStruct.Speed = GPIO_SPEED_FREQ_VERY_HIGH;
  GPIO_InitStruct.Alternate = GPIO_AF12_FMC;
  HAL_GPIO_Init(GPIOH, &GPIO_InitStruct);

  /*Configure GPIO pins : VCP_TX_Pin VCP_RX_Pin */
  GPIO_InitStruct.Pin = VCP_TX_Pin|VCP_RX_Pin;
  GPIO_InitStruct.Mode = GPIO_MODE_AF_PP;
  GPIO_InitStruct.Pull = GPIO_NOPULL;
  GPIO_InitStruct.Speed = GPIO_SPEED_FREQ_LOW;
  GPIO_InitStruct.Alternate = GPIO_AF7_USART3;
  HAL_GPIO_Init(GPIOB, &GPIO_InitStruct);

  /*Configure GPIO pin : OTG_FS2_OverCurrent_Pin */
  GPIO_InitStruct.Pin = OTG_FS2_OverCurrent_Pin;
  GPIO_InitStruct.Mode = GPIO_MODE_IT_RISING;
  GPIO_InitStruct.Pull = GPIO_NOPULL;
  HAL_GPIO_Init(OTG_FS2_OverCurrent_GPIO_Port, &GPIO_InitStruct);

  /*Configure GPIO pin : PA6 */
  GPIO_InitStruct.Pin = GPIO_PIN_6;
  GPIO_InitStruct.Mode = GPIO_MODE_AF_PP;
  GPIO_InitStruct.Pull = GPIO_NOPULL;
  GPIO_InitStruct.Speed = GPIO_SPEED_FREQ_LOW;
  GPIO_InitStruct.Alternate = GPIO_AF9_TIM13;
  HAL_GPIO_Init(GPIOA, &GPIO_InitStruct);

  /*Configure GPIO pin : PH9 */
  GPIO_InitStruct.Pin = GPIO_PIN_9;
  GPIO_InitStruct.Mode = GPIO_MODE_AF_PP;
  GPIO_InitStruct.Pull = GPIO_NOPULL;
  GPIO_InitStruct.Speed = GPIO_SPEED_FREQ_LOW;
  GPIO_InitStruct.Alternate = GPIO_AF14_LTDC;
  HAL_GPIO_Init(GPIOH, &GPIO_InitStruct);

  /*Configure GPIO pins : MII_RX_D3_Pin MII_RX_D2_Pin */
  GPIO_InitStruct.Pin = MII_RX_D3_Pin|MII_RX_D2_Pin;
  GPIO_InitStruct.Mode = GPIO_MODE_AF_PP;
  GPIO_InitStruct.Pull = GPIO_NOPULL;
  GPIO_InitStruct.Speed = GPIO_SPEED_FREQ_LOW;
  GPIO_InitStruct.Alternate = GPIO_AF11_ETH;
  HAL_GPIO_Init(GPIOB, &GPIO_InitStruct);

  /*Configure GPIO pin : LD1_Pin */
  GPIO_InitStruct.Pin = LD1_Pin;
  GPIO_InitStruct.Mode = GPIO_MODE_OUTPUT_PP;
  GPIO_InitStruct.Pull = GPIO_NOPULL;
  GPIO_InitStruct.Speed = GPIO_SPEED_FREQ_LOW;
  HAL_GPIO_Init(LD1_GPIO_Port, &GPIO_InitStruct);

  /*Configure GPIO pin : LCD_RST_Pin */
  GPIO_InitStruct.Pin = LCD_RST_Pin;
  GPIO_InitStruct.Mode = GPIO_MODE_OUTPUT_PP;
  GPIO_InitStruct.Pull = GPIO_NOPULL;
  GPIO_InitStruct.Speed = GPIO_SPEED_FREQ_LOW;
  HAL_GPIO_Init(LCD_RST_GPIO_Port, &GPIO_InitStruct);

  /*Configure GPIO pin : PB15 */
  GPIO_InitStruct.Pin = GPIO_PIN_15;
  GPIO_InitStruct.Mode = GPIO_MODE_AF_PP;
  GPIO_InitStruct.Pull = GPIO_NOPULL;
  GPIO_InitStruct.Speed = GPIO_SPEED_FREQ_LOW;
  GPIO_InitStruct.Alternate = GPIO_AF5_SPI2;
  HAL_GPIO_Init(GPIOB, &GPIO_InitStruct);

  /*AnalogSwitch Config */
  HAL_SYSCFG_AnalogSwitchConfig(SYSCFG_SWITCH_PA0, SYSCFG_SWITCH_PA0_OPEN);

  /*AnalogSwitch Config */
  HAL_SYSCFG_AnalogSwitchConfig(SYSCFG_SWITCH_PA1, SYSCFG_SWITCH_PA1_OPEN);

}

void Error_Handler(void)
{
  __disable_irq();
  while (1)
  {
  }
}
